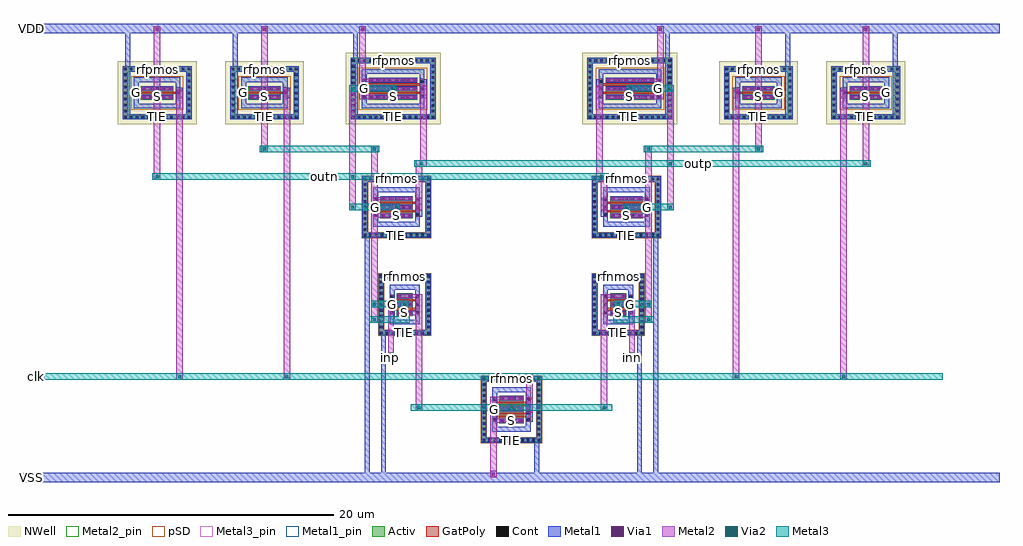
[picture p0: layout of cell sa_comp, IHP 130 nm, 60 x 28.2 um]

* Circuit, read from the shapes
.subckt sa_comp VDD VSS clk inn inp outn outp
XM1 outn outp n1 VSS sg13_lv_nmos w=2u l=0.13u m=2
XM2 n1 inp n2 VSS sg13_lv_nmos w=1u l=0.15u m=2
XM3 n2 clk VSS VSS sg13_lv_nmos w=1.5u l=0.3u m=2
XM4 n3 inn n2 VSS sg13_lv_nmos w=1u l=0.15u m=2
XM5 outp outn n3 VSS sg13_lv_nmos w=2u l=0.13u m=2
XM6 VDD clk outn VDD sg13_lv_pmos w=2u l=0.13u
XM7 VDD clk n1 VDD sg13_lv_pmos w=2u l=0.13u
XM8 outn outp VDD VDD sg13_lv_pmos w=3u l=0.13u m=2
XM9 outp outn VDD VDD sg13_lv_pmos w=3u l=0.13u m=2
XM10 VDD clk n3 VDD sg13_lv_pmos w=2u l=0.13u
XM11 VDD clk outp VDD sg13_lv_pmos w=2u l=0.13u
.ends

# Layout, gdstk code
import gdstk
lib = gdstk.Library(unit=1e-6, precision=1e-09)
def R(c, l, rs):  # rectangles x0, y0, x1, y1
    for r in rs: c.add(gdstk.rectangle(r[:2], r[2:], *l))
def A(c, l, x, y, w, h, nx, ny, dx, dy):  # array of equal rectangles
    R(c, l, [(x+i*dx, y+j*dy, x+i*dx+w, y+j*dy+h) for i in range(nx) for j in range(ny)])
def P(c, l, *ps):  # polygons
    for p in ps: c.add(gdstk.Polygon(p, *l))
Activ = (1, 0)
GatPoly = (5, 0)
Cont = (6, 0)
Metal1 = (8, 0)
Metal1_pin = (8, 2)
Metal2 = (10, 0)
Metal2_pin = (10, 2)
pSD = (14, 0)
Via1 = (19, 0)
Via2 = (29, 0)
Metal3 = (30, 0)
Metal3_pin = (30, 2)
NWell = (31, 0)

sa_comp = lib.new_cell('sa_comp')
R(sa_comp, Activ, [(-0.75,1.245,0.75,2.915), (-7.06,7.845,-6.06,9.215), (6.06,7.845,7.06,9.215), (-8.06,13.845,-6.06,15.195), (6.06,13.845,8.06,15.195), (-22.78,21.125,-20.78,21.955), (-16.18,21.125,-14.18,21.955), (-8.78,21.125,-5.78,22.475), (5.78,21.125,8.78,22.475), (14.18,21.125,16.18,21.955), (20.78,21.125,22.78,21.955)])
P(sa_comp, Activ, [(-1.86,0.03),(-1.86,3.81),(-1.54,3.81),(-1.54,0.35),(1.54,0.35),(1.54,3.81),(-1.86,3.81),(-1.86,4.13),(1.86,4.13),(1.86,0.03)],
  [(-8.17,6.63),(-8.17,10.11),(-7.85,10.11),(-7.85,6.95),(-5.27,6.95),(-5.27,10.11),(-8.17,10.11),(-8.17,10.43),(-4.95,10.43),(-4.95,6.63)],
  [(4.95,6.63),(4.95,10.43),(8.17,10.43),(8.17,10.11),(5.27,10.11),(5.27,6.95),(7.85,6.95),(7.85,10.11),(8.17,10.11),(8.17,6.63)],
  [(-9.17,12.63),(-9.17,16.09),(-8.85,16.09),(-8.85,12.95),(-5.27,12.95),(-5.27,16.09),(-9.17,16.09),(-9.17,16.41),(-4.95,16.41),(-4.95,12.63)],
  [(4.95,12.63),(4.95,16.41),(9.17,16.41),(9.17,16.09),(5.27,16.09),(5.27,12.95),(8.85,12.95),(8.85,16.09),(9.17,16.09),(9.17,12.63)],
  [(-9.89,19.91),(-9.89,23.37),(-9.57,23.37),(-9.57,20.23),(-4.99,20.23),(-4.99,23.37),(-9.89,23.37),(-9.89,23.69),(-4.67,23.69),(-4.67,19.91)],
  [(4.67,19.91),(4.67,23.69),(9.89,23.69),(9.89,23.37),(4.99,23.37),(4.99,20.23),(9.57,20.23),(9.57,23.37),(9.89,23.37),(9.89,19.91)],
  [(-17.29,19.91),(-17.29,22.85),(-16.97,22.85),(-16.97,20.23),(-13.39,20.23),(-13.39,22.85),(-17.29,22.85),(-17.29,23.17),(-13.07,23.17),(-13.07,19.91)],
  [(13.07,19.91),(13.07,23.17),(17.29,23.17),(17.29,22.85),(13.39,22.85),(13.39,20.23),(16.97,20.23),(16.97,22.85),(17.29,22.85),(17.29,19.91)],
  [(-23.89,19.91),(-23.89,22.85),(-23.57,22.85),(-23.57,20.23),(-19.99,20.23),(-19.99,22.85),(-23.89,22.85),(-23.89,23.17),(-19.67,23.17),(-19.67,19.91)],
  [(19.67,19.91),(19.67,23.17),(23.89,23.17),(23.89,22.85),(19.99,22.85),(19.99,20.23),(23.57,20.23),(23.57,22.85),(23.89,22.85),(23.89,19.91)])
R(sa_comp, GatPoly, [(-1.18,1.32,-0.88,2.84), (0.88,1.32,1.18,2.84), (-0.88,1.59,0.88,1.89), (-0.88,2.27,0.88,2.57), (-7.49,7.92,-7.19,9.14), (-5.93,7.92,-5.63,9.14), (5.63,7.92,5.93,9.14), (7.19,7.92,7.49,9.14), (-7.19,8.19,-5.93,8.34), (5.93,8.19,7.19,8.34), (-7.19,8.72,-5.93,8.87), (5.93,8.72,7.19,8.87), (-8.49,13.92,-8.19,15.12), (-5.93,13.92,-5.63,15.12), (5.63,13.92,5.93,15.12), (8.19,13.92,8.49,15.12), (-8.19,14.195,-5.93,14.325), (5.93,14.195,8.19,14.325), (-8.19,14.715,-5.93,14.845), (5.93,14.715,8.19,14.845), (-23.21,21.2,-22.91,21.88), (-20.65,21.2,-20.35,21.88), (-16.61,21.2,-16.31,21.88), (-14.05,21.2,-13.75,21.88), (-9.21,21.2,-8.91,22.4), (-5.65,21.2,-5.35,22.4), (5.35,21.2,5.65,22.4), (8.91,21.2,9.21,22.4), (13.75,21.2,14.05,21.88), (16.31,21.2,16.61,21.88), (20.35,21.2,20.65,21.88), (22.91,21.2,23.21,21.88), (-22.91,21.475,-20.65,21.605), (-16.31,21.475,-14.05,21.605), (-8.91,21.475,-5.65,21.605), (5.65,21.475,8.91,21.605), (14.05,21.475,16.31,21.605), (20.65,21.475,22.91,21.605), (-8.91,21.995,-5.65,22.125), (5.65,21.995,8.91,22.125)])
A(sa_comp, Cont, -1.78, 0.11, 0.16, 0.16, 11, 2, 0.34, 3.78)
A(sa_comp, Cont, -1.78, 0.46, 0.16, 0.16, 1, 3, 0, 0.34)
A(sa_comp, Cont, 1.62, 0.46, 0.16, 0.16, 1, 3, 0, 0.34)
A(sa_comp, Cont, -0.65, 1.32, 0.16, 0.16, 4, 3, 0.38, 0.68)
A(sa_comp, Cont, -1.11, 1.39, 0.16, 0.16, 1, 3, 0, 0.405)
A(sa_comp, Cont, 0.95, 1.39, 0.16, 0.16, 1, 3, 0, 0.405)
A(sa_comp, Cont, -6.96, 7.92, 0.16, 0.16, 1, 3, 0, 0.53)
A(sa_comp, Cont, -6.32, 7.92, 0.16, 0.16, 1, 3, 0, 0.53)
A(sa_comp, Cont, 6.16, 7.92, 0.16, 0.16, 1, 3, 0, 0.53)
A(sa_comp, Cont, 6.8, 7.92, 0.16, 0.16, 1, 3, 0, 0.53)
A(sa_comp, Cont, -7.42, 7.99, 0.16, 0.16, 1, 3, 0, 0.46)
A(sa_comp, Cont, -5.86, 7.99, 0.16, 0.16, 1, 3, 0, 0.46)
A(sa_comp, Cont, 5.7, 7.99, 0.16, 0.16, 1, 3, 0, 0.46)
A(sa_comp, Cont, 7.26, 7.99, 0.16, 0.16, 1, 3, 0, 0.46)
A(sa_comp, Cont, -8.09, 9.49, 0.16, 0.16, 1, 3, 0, 0.35)
A(sa_comp, Cont, -5.19, 9.49, 0.16, 0.16, 1, 3, 0, 0.35)
A(sa_comp, Cont, 5.03, 9.49, 0.16, 0.16, 1, 3, 0, 0.35)
A(sa_comp, Cont, 7.93, 9.49, 0.16, 0.16, 1, 3, 0, 0.35)
A(sa_comp, Cont, -8.74, 12.71, 0.16, 0.16, 11, 2, 0.355, 3.46)
A(sa_comp, Cont, 5.03, 12.71, 0.16, 0.16, 11, 2, 0.355, 3.46)
A(sa_comp, Cont, -9.09, 13.06, 0.16, 0.16, 1, 9, 0, 0.345)
A(sa_comp, Cont, -5.19, 13.06, 0.16, 0.16, 1, 9, 0, 0.345)
A(sa_comp, Cont, 5.03, 13.06, 0.16, 0.16, 1, 9, 0, 0.345)
A(sa_comp, Cont, 8.93, 13.06, 0.16, 0.16, 1, 9, 0, 0.345)
A(sa_comp, Cont, -7.96, 13.92, 0.16, 0.16, 5, 3, 0.41, 0.52)
A(sa_comp, Cont, 6.16, 13.92, 0.16, 0.16, 5, 3, 0.41, 0.52)
A(sa_comp, Cont, -8.42, 13.99, 0.16, 0.16, 1, 3, 0, 0.45)
A(sa_comp, Cont, -5.86, 13.99, 0.16, 0.16, 1, 3, 0, 0.45)
A(sa_comp, Cont, 5.7, 13.99, 0.16, 0.16, 1, 3, 0, 0.45)
A(sa_comp, Cont, 8.26, 13.99, 0.16, 0.16, 1, 3, 0, 0.45)
A(sa_comp, Cont, -23.46, 19.99, 0.16, 0.16, 11, 2, 0.355, 2.94)
A(sa_comp, Cont, -16.86, 19.99, 0.16, 0.16, 11, 2, 0.355, 2.94)
A(sa_comp, Cont, -9.81, 19.99, 0.16, 0.16, 15, 2, 0.35, 3.46)
A(sa_comp, Cont, 4.75, 19.99, 0.16, 0.16, 15, 2, 0.35, 3.46)
A(sa_comp, Cont, 13.15, 19.99, 0.16, 0.16, 11, 2, 0.355, 2.94)
A(sa_comp, Cont, 19.75, 19.99, 0.16, 0.16, 11, 2, 0.355, 2.94)
A(sa_comp, Cont, -9.81, 20.34, 0.16, 0.16, 1, 9, 0, 0.345)
A(sa_comp, Cont, -4.91, 20.34, 0.16, 0.16, 1, 9, 0, 0.345)
A(sa_comp, Cont, 4.75, 20.34, 0.16, 0.16, 1, 9, 0, 0.345)
A(sa_comp, Cont, 9.65, 20.34, 0.16, 0.16, 1, 9, 0, 0.345)
A(sa_comp, Cont, -23.81, 20.71, 0.16, 0.16, 1, 3, 0, 0.375)
A(sa_comp, Cont, -19.91, 20.71, 0.16, 0.16, 1, 3, 0, 0.375)
A(sa_comp, Cont, -17.21, 20.71, 0.16, 0.16, 1, 3, 0, 0.375)
A(sa_comp, Cont, -13.31, 20.71, 0.16, 0.16, 1, 3, 0, 0.375)
A(sa_comp, Cont, 13.15, 20.71, 0.16, 0.16, 1, 3, 0, 0.375)
A(sa_comp, Cont, 17.05, 20.71, 0.16, 0.16, 1, 3, 0, 0.375)
A(sa_comp, Cont, 19.75, 20.71, 0.16, 0.16, 1, 3, 0, 0.375)
A(sa_comp, Cont, 23.65, 20.71, 0.16, 0.16, 1, 3, 0, 0.375)
A(sa_comp, Cont, -22.68, 21.2, 0.16, 0.16, 5, 2, 0.41, 0.52)
A(sa_comp, Cont, -16.08, 21.2, 0.16, 0.16, 5, 2, 0.41, 0.52)
A(sa_comp, Cont, -8.68, 21.2, 0.16, 0.16, 3, 3, 0.375, 0.52)
A(sa_comp, Cont, -7.55, 21.2, 0.16, 0.16, 1, 3, 0, 0.52)
A(sa_comp, Cont, -7.175, 21.2, 0.16, 0.16, 1, 3, 0, 0.52)
A(sa_comp, Cont, -6.795, 21.2, 0.16, 0.16, 1, 3, 0, 0.52)
A(sa_comp, Cont, -6.42, 21.2, 0.16, 0.16, 1, 3, 0, 0.52)
A(sa_comp, Cont, -6.04, 21.2, 0.16, 0.16, 1, 3, 0, 0.52)
A(sa_comp, Cont, 5.88, 21.2, 0.16, 0.16, 1, 3, 0, 0.52)
A(sa_comp, Cont, 6.26, 21.2, 0.16, 0.16, 1, 3, 0, 0.52)
A(sa_comp, Cont, 6.635, 21.2, 0.16, 0.16, 1, 3, 0, 0.52)
A(sa_comp, Cont, 7.015, 21.2, 0.16, 0.16, 1, 3, 0, 0.52)
A(sa_comp, Cont, 7.39, 21.2, 0.16, 0.16, 1, 3, 0, 0.52)
A(sa_comp, Cont, 7.77, 21.2, 0.16, 0.16, 3, 3, 0.375, 0.52)
A(sa_comp, Cont, 14.28, 21.2, 0.16, 0.16, 5, 2, 0.41, 0.52)
A(sa_comp, Cont, 20.88, 21.2, 0.16, 0.16, 5, 2, 0.41, 0.52)
A(sa_comp, Cont, -9.14, 21.27, 0.16, 0.16, 1, 3, 0, 0.45)
A(sa_comp, Cont, -5.58, 21.27, 0.16, 0.16, 1, 3, 0, 0.45)
A(sa_comp, Cont, 5.42, 21.27, 0.16, 0.16, 1, 3, 0, 0.45)
A(sa_comp, Cont, 8.98, 21.27, 0.16, 0.16, 1, 3, 0, 0.45)
A(sa_comp, Cont, -23.81, 21.83, 0.16, 0.16, 1, 3, 0, 0.375)
A(sa_comp, Cont, -19.91, 21.83, 0.16, 0.16, 1, 3, 0, 0.375)
A(sa_comp, Cont, -17.21, 21.83, 0.16, 0.16, 1, 3, 0, 0.375)
A(sa_comp, Cont, -13.31, 21.83, 0.16, 0.16, 1, 3, 0, 0.375)
A(sa_comp, Cont, 13.15, 21.83, 0.16, 0.16, 1, 3, 0, 0.375)
A(sa_comp, Cont, 17.05, 21.83, 0.16, 0.16, 1, 3, 0, 0.375)
A(sa_comp, Cont, 19.75, 21.83, 0.16, 0.16, 1, 3, 0, 0.375)
A(sa_comp, Cont, 23.65, 21.83, 0.16, 0.16, 1, 3, 0, 0.375)
R(sa_comp, Cont, [(-1.78,1.485,-1.62,1.645), (1.62,1.485,1.78,1.645), (-1.78,1.825,-1.62,1.985), (1.62,1.825,1.78,1.985), (-1.78,2.17,-1.62,2.33), (1.62,2.17,1.78,2.33), (-1.78,2.51,-1.62,2.67), (1.62,2.51,1.78,2.67), (-1.11,2.61,-0.95,2.77), (0.95,2.61,1.11,2.77), (-1.78,2.855,-1.62,3.015), (1.62,2.855,1.78,3.015), (-1.78,3.195,-1.62,3.355), (1.62,3.195,1.78,3.355), (-1.78,3.54,-1.62,3.7), (1.62,3.54,1.78,3.7), (-8.09,6.71,-7.93,6.87), (-7.73,6.71,-7.57,6.87), (-7.365,6.71,-7.205,6.87), (-7.005,6.71,-6.845,6.87), (-6.64,6.71,-6.48,6.87), (-6.28,6.71,-6.12,6.87), (-5.915,6.71,-5.755,6.87), (-5.555,6.71,-5.395,6.87), (-5.19,6.71,-5.03,6.87), (5.03,6.71,5.19,6.87), (5.395,6.71,5.555,6.87), (5.755,6.71,5.915,6.87), (6.12,6.71,6.28,6.87), (6.48,6.71,6.64,6.87), (6.845,6.71,7.005,6.87), (7.205,6.71,7.365,6.87), (7.57,6.71,7.73,6.87), (7.93,6.71,8.09,6.87), (-8.09,7.06,-7.93,7.22), (-5.19,7.06,-5.03,7.22), (5.03,7.06,5.19,7.22), (7.93,7.06,8.09,7.22), (-8.09,7.405,-7.93,7.565), (-5.19,7.405,-5.03,7.565), (5.03,7.405,5.19,7.565), (7.93,7.405,8.09,7.565), (-8.09,7.755,-7.93,7.915), (-5.19,7.755,-5.03,7.915), (5.03,7.755,5.19,7.915), (7.93,7.755,8.09,7.915), (-8.09,8.1,-7.93,8.26), (-5.19,8.1,-5.03,8.26), (5.03,8.1,5.19,8.26), (7.93,8.1,8.09,8.26), (-8.09,8.45,-7.93,8.61), (-5.19,8.45,-5.03,8.61), (5.03,8.45,5.19,8.61), (7.93,8.45,8.09,8.61), (-8.09,8.795,-7.93,8.955), (-5.19,8.795,-5.03,8.955), (5.03,8.795,5.19,8.955), (7.93,8.795,8.09,8.955), (-8.09,9.145,-7.93,9.305), (-5.19,9.145,-5.03,9.305), (5.03,9.145,5.19,9.305), (7.93,9.145,8.09,9.305), (-7.73,10.19,-7.57,10.35), (-7.365,10.19,-7.205,10.35), (-7.005,10.19,-6.845,10.35), (-6.64,10.19,-6.48,10.35), (-6.28,10.19,-6.12,10.35), (-5.915,10.19,-5.755,10.35), (-5.555,10.19,-5.395,10.35), (5.395,10.19,5.555,10.35), (5.755,10.19,5.915,10.35), (6.12,10.19,6.28,10.35), (6.48,10.19,6.64,10.35), (6.845,10.19,7.005,10.35), (7.205,10.19,7.365,10.35), (7.57,10.19,7.73,10.35), (-9.09,12.71,-8.93,12.87), (8.93,12.71,9.09,12.87), (-9.09,16.17,-8.93,16.33), (8.93,16.17,9.09,16.33), (-23.81,19.99,-23.65,20.15), (-17.21,19.99,-17.05,20.15), (17.05,19.99,17.21,20.15), (23.65,19.99,23.81,20.15), (-23.81,20.34,-23.65,20.5), (-19.91,20.34,-19.75,20.5), (-17.21,20.34,-17.05,20.5), (-13.31,20.34,-13.15,20.5), (13.15,20.34,13.31,20.5), (17.05,20.34,17.21,20.5), (19.75,20.34,19.91,20.5), (23.65,20.34,23.81,20.5), (-23.14,21.46,-22.98,21.62), (-20.58,21.46,-20.42,21.62), (-16.54,21.46,-16.38,21.62), (-13.98,21.46,-13.82,21.62), (13.82,21.46,13.98,21.62), (16.38,21.46,16.54,21.62), (20.42,21.46,20.58,21.62), (22.98,21.46,23.14,21.62), (-23.81,22.93,-23.65,23.09), (-17.21,22.93,-17.05,23.09), (17.05,22.93,17.21,23.09), (23.65,22.93,23.81,23.09)])
A(sa_comp, Metal1, -0.7, 1.26, 1.4, 0.28, 1, 3, 0, 0.68)
A(sa_comp, Metal1, -7.01, 7.86, 0.9, 0.28, 1, 3, 0, 0.53)
A(sa_comp, Metal1, 6.11, 7.86, 0.9, 0.28, 1, 3, 0, 0.53)
A(sa_comp, Metal1, -8.01, 13.86, 1.9, 0.28, 1, 3, 0, 0.52)
A(sa_comp, Metal1, 6.11, 13.86, 1.9, 0.28, 1, 3, 0, 0.52)
A(sa_comp, Metal1, -8.73, 21.14, 2.9, 0.28, 1, 3, 0, 0.52)
A(sa_comp, Metal1, 5.83, 21.14, 2.9, 0.28, 1, 3, 0, 0.52)
R(sa_comp, Metal1, [(-30,-2.4,30,-1.8), (-1.32,-2.1,-0.92,-1.7), (-9.02,-1.8,-8.72,12.83), (-8.02,-1.8,-7.72,6.83), (1.41,-1.8,1.71,0.23), (7.72,-1.8,8.02,6.83), (8.72,-1.8,9.02,12.83), (-1.86,0.03,1.86,0.35), (-1.86,0.35,-1.54,3.81), (1.54,0.35,1.86,3.81), (-1.13,1.34,-0.93,2.82), (0.92,1.34,1.32,2.82), (0.93,1.34,1.13,2.82), (-1.86,3.81,1.86,4.13), (-8.17,6.63,-4.95,6.95), (4.95,6.63,8.17,6.95), (-8.17,6.95,-7.85,10.11), (-5.27,6.95,-4.95,10.11), (4.95,6.95,5.27,10.11), (7.85,6.95,8.17,10.11), (-7.44,7.94,-7.24,9.12), (-5.88,7.94,-5.68,9.12), (5.68,7.94,5.88,9.12), (7.24,7.94,7.44,9.12), (-7.58,8.36,-7.24,8.74), (7.24,8.36,7.58,8.74), (-8.17,10.11,-4.95,10.43), (4.95,10.11,8.17,10.43), (-9.17,12.63,-4.95,12.95), (4.95,12.63,9.17,12.95), (-9.17,12.95,-8.85,16.09), (-5.27,12.95,-4.95,16.09), (4.95,12.95,5.27,16.09), (8.85,12.95,9.17,16.09), (-8.44,13.94,-8.24,15.1), (-5.89,13.94,-5.49,15.1), (-5.88,13.94,-5.68,15.1), (5.49,13.94,5.89,15.1), (5.68,13.94,5.88,15.1), (8.24,13.94,8.44,15.1), (-9.17,16.09,-4.95,16.41), (4.95,16.09,9.17,16.41), (-23.89,19.91,-19.67,20.23), (-17.29,19.91,-13.07,20.23), (-9.89,19.91,-4.67,20.23), (4.67,19.91,9.89,20.23), (13.07,19.91,17.29,20.23), (19.67,19.91,23.89,20.23), (-23.74,20.04,-23.44,25.2), (-17.14,20.04,-16.84,25.2), (-9.74,20.04,-9.44,25.2), (9.44,20.04,9.74,25.2), (16.84,20.04,17.14,25.2), (23.44,20.04,23.74,25.2), (-23.89,20.23,-23.57,22.85), (-19.99,20.23,-19.67,22.85), (-17.29,20.23,-16.97,22.85), (-13.39,20.23,-13.07,22.85), (-9.89,20.23,-9.57,23.37), (-4.99,20.23,-4.67,23.37), (4.67,20.23,4.99,23.37), (9.57,20.23,9.89,23.37), (13.07,20.23,13.39,22.85), (16.97,20.23,17.29,22.85), (19.67,20.23,19.99,22.85), (23.57,20.23,23.89,22.85), (-22.73,21.14,-20.83,21.42), (-16.13,21.14,-14.23,21.42), (14.23,21.14,16.13,21.42), (20.83,21.14,22.73,21.42), (-23.16,21.22,-22.96,21.86), (-20.61,21.22,-20.21,21.86), (-20.6,21.22,-20.4,21.86), (-16.56,21.22,-16.36,21.86), (-14.01,21.22,-13.61,21.86), (-14,21.22,-13.8,21.86), (-9.16,21.22,-8.96,22.38), (-5.61,21.22,-5.21,22.38), (-5.6,21.22,-5.4,22.38), (5.21,21.22,5.61,22.38), (5.4,21.22,5.6,22.38), (8.96,21.22,9.16,22.38), (13.61,21.22,14.01,21.86), (13.8,21.22,14,21.86), (16.36,21.22,16.56,21.86), (20.21,21.22,20.61,21.86), (20.4,21.22,20.6,21.86), (22.96,21.22,23.16,21.86), (-22.73,21.66,-20.83,21.94), (-16.13,21.66,-14.23,21.94), (14.23,21.66,16.13,21.94), (20.83,21.66,22.73,21.94), (-23.89,22.85,-19.67,23.17), (-17.29,22.85,-13.07,23.17), (13.07,22.85,17.29,23.17), (19.67,22.85,23.89,23.17), (-9.89,23.37,-4.67,23.69), (4.67,23.37,9.89,23.69), (-30,25.2,30,25.8), (-21.98,25.25,-21.58,25.65), (-15.38,25.25,-14.98,25.65), (-9.35,25.25,-8.95,25.65), (8.95,25.25,9.35,25.65), (14.98,25.25,15.38,25.65), (21.58,25.25,21.98,25.65)])
P(sa_comp, Metal1, [(-1.18,0.71),(-1.18,3.15),(-0.88,3.15),(-0.88,1.01),(0.88,1.01),(0.88,3.15),(-1.18,3.15),(-1.18,3.45),(1.18,3.45),(1.18,0.71)],
  [(-7.49,7.31),(-7.49,9.45),(-7.19,9.45),(-7.19,7.61),(-5.93,7.61),(-5.93,9.45),(-7.49,9.45),(-7.49,9.75),(-5.63,9.75),(-5.63,7.31)],
  [(5.63,7.31),(5.63,9.75),(7.49,9.75),(7.49,9.45),(5.93,9.45),(5.93,7.61),(7.19,7.61),(7.19,9.45),(7.49,9.45),(7.49,7.31)],
  [(-8.49,13.31),(-8.49,15.43),(-8.19,15.43),(-8.19,13.61),(-5.93,13.61),(-5.93,15.43),(-8.49,15.43),(-8.49,15.73),(-5.63,15.73),(-5.63,13.31)],
  [(5.63,13.31),(5.63,15.73),(8.49,15.73),(8.49,15.43),(5.93,15.43),(5.93,13.61),(8.19,13.61),(8.19,15.43),(8.49,15.43),(8.49,13.31)],
  [(-9.21,20.59),(-9.21,22.71),(-8.91,22.71),(-8.91,20.89),(-5.65,20.89),(-5.65,22.71),(-9.21,22.71),(-9.21,23.01),(-5.35,23.01),(-5.35,20.59)],
  [(5.35,20.59),(5.35,23.01),(9.21,23.01),(9.21,22.71),(5.65,22.71),(5.65,20.89),(8.91,20.89),(8.91,22.71),(9.21,22.71),(9.21,20.59)],
  [(-16.61,20.59),(-16.61,22.19),(-16.31,22.19),(-16.31,20.89),(-14.05,20.89),(-14.05,22.19),(-16.61,22.19),(-16.61,22.49),(-13.75,22.49),(-13.75,20.59)],
  [(13.75,20.59),(13.75,22.49),(16.61,22.49),(16.61,22.19),(14.05,22.19),(14.05,20.89),(16.31,20.89),(16.31,22.19),(16.61,22.19),(16.61,20.59)],
  [(-23.21,20.59),(-23.21,22.19),(-22.91,22.19),(-22.91,20.89),(-20.65,20.89),(-20.65,22.19),(-23.21,22.19),(-23.21,22.49),(-20.35,22.49),(-20.35,20.59)],
  [(20.35,20.59),(20.35,22.49),(23.21,22.49),(23.21,22.19),(20.65,22.19),(20.65,20.89),(22.91,20.89),(22.91,22.19),(23.21,22.19),(23.21,20.59)])
R(sa_comp, Metal1_pin, [(-30,-2.3,-29,-1.9), (-1.86,0.11,1.86,0.27), (-1.86,0.11,1.86,0.27), (-0.7,1.26,0.7,1.54), (-0.7,1.26,0.7,1.54), (-1.13,1.34,-0.93,2.82), (-1.13,1.34,-0.93,2.82), (-0.7,1.94,0.7,2.22), (-0.7,1.94,0.7,2.22), (-8.17,6.71,-4.95,6.87), (-8.17,6.71,-4.95,6.87), (4.95,6.71,8.17,6.87), (4.95,6.71,8.17,6.87), (-7.01,7.86,-6.11,8.14), (-7.01,7.86,-6.11,8.14), (6.11,7.86,7.01,8.14), (6.11,7.86,7.01,8.14), (-7.44,7.94,-7.24,9.12), (-7.44,7.94,-7.24,9.12), (7.24,7.94,7.44,9.12), (7.24,7.94,7.44,9.12), (-7.01,8.39,-6.11,8.67), (-7.01,8.39,-6.11,8.67), (6.11,8.39,7.01,8.67), (6.11,8.39,7.01,8.67), (-9.17,12.71,-4.95,12.87), (-9.17,12.71,-4.95,12.87), (4.95,12.71,9.17,12.87), (4.95,12.71,9.17,12.87), (-8.01,13.86,-6.11,14.14), (-8.01,13.86,-6.11,14.14), (6.11,13.86,8.01,14.14), (6.11,13.86,8.01,14.14), (-8.44,13.94,-8.24,15.1), (-8.44,13.94,-8.24,15.1), (8.24,13.94,8.44,15.1), (8.24,13.94,8.44,15.1), (-8.01,14.38,-6.11,14.66), (-8.01,14.38,-6.11,14.66), (6.11,14.38,8.01,14.66), (6.11,14.38,8.01,14.66), (-23.89,19.99,-19.67,20.15), (-23.89,19.99,-19.67,20.15), (-17.29,19.99,-13.07,20.15), (-17.29,19.99,-13.07,20.15), (-9.89,19.99,-4.67,20.15), (-9.89,19.99,-4.67,20.15), (4.67,19.99,9.89,20.15), (4.67,19.99,9.89,20.15), (13.07,19.99,17.29,20.15), (13.07,19.99,17.29,20.15), (19.67,19.99,23.89,20.15), (19.67,19.99,23.89,20.15), (-22.73,21.14,-20.83,21.42), (-22.73,21.14,-20.83,21.42), (-16.13,21.14,-14.23,21.42), (-16.13,21.14,-14.23,21.42), (-8.73,21.14,-5.83,21.42), (-8.73,21.14,-5.83,21.42), (5.83,21.14,8.73,21.42), (5.83,21.14,8.73,21.42), (14.23,21.14,16.13,21.42), (14.23,21.14,16.13,21.42), (20.83,21.14,22.73,21.42), (20.83,21.14,22.73,21.42), (-23.16,21.22,-22.96,21.86), (-23.16,21.22,-22.96,21.86), (-16.56,21.22,-16.36,21.86), (-16.56,21.22,-16.36,21.86), (-9.16,21.22,-8.96,22.38), (-9.16,21.22,-8.96,22.38), (8.96,21.22,9.16,22.38), (8.96,21.22,9.16,22.38), (16.36,21.22,16.56,21.86), (16.36,21.22,16.56,21.86), (22.96,21.22,23.16,21.86), (22.96,21.22,23.16,21.86), (-22.73,21.66,-20.83,21.94), (-22.73,21.66,-20.83,21.94), (-16.13,21.66,-14.23,21.94), (-16.13,21.66,-14.23,21.94), (-8.73,21.66,-5.83,21.94), (-8.73,21.66,-5.83,21.94), (5.83,21.66,8.73,21.94), (5.83,21.66,8.73,21.94), (14.23,21.66,16.13,21.94), (14.23,21.66,16.13,21.94), (20.83,21.66,22.73,21.94), (20.83,21.66,22.73,21.94), (-30,25.3,-29,25.7)])
A(sa_comp, Metal2, -0.7, 1.3, 1.4, 0.2, 1, 3, 0, 0.68)
A(sa_comp, Metal2, -5.89, 2, 0.4, 0.4, 3, 1, 5.69, 0)
A(sa_comp, Metal2, -7.01, 7.9, 0.9, 0.2, 1, 3, 0, 0.53)
A(sa_comp, Metal2, 6.11, 7.9, 0.9, 0.2, 1, 3, 0, 0.53)
A(sa_comp, Metal2, -8.01, 13.9, 1.9, 0.2, 1, 3, 0, 0.52)
A(sa_comp, Metal2, 6.11, 13.9, 1.9, 0.2, 1, 3, 0, 0.52)
A(sa_comp, Metal2, -8.73, 21.18, 2.9, 0.2, 1, 3, 0, 0.52)
A(sa_comp, Metal2, 5.83, 21.18, 2.9, 0.2, 1, 3, 0, 0.52)
R(sa_comp, Metal2, [(-1.32,-2.1,-0.92,-1.7), (-1.32,-1.95,-0.92,1.36), (-1.32,1.26,-0.4,1.54), (-1.32,1.26,-0.92,2.86), (0.92,1.89,1.32,2.27), (0.92,2.08,1.32,4.1), (-0.2,2.12,0.2,2.2), (-5.89,2.2,-5.49,8.06), (5.49,2.2,5.89,8.06), (-1.32,2.66,-0.4,2.86), (-20.61,3.9,-20.21,4.3), (-14.01,3.9,-13.61,4.3), (0.92,3.9,1.32,4.3), (13.61,3.9,14.01,4.3), (20.21,3.9,20.61,4.3), (-20.61,4.1,-20.21,21.54), (-14.01,4.1,-13.61,21.54), (13.61,4.1,14.01,21.54), (20.21,4.1,20.61,21.54), (-7.58,5,-7.24,8.55), (7.24,5,7.58,8.55), (-8.63,7.4,-8.23,7.8), (8.23,7.4,8.63,7.8), (-8.63,7.6,-8.23,14.06), (8.23,7.6,8.63,14.06), (-6.41,7.86,-5.49,8.14), (-5.89,7.86,-5.49,9.16), (5.49,7.86,6.41,8.14), (5.49,7.86,5.89,9.16), (-8.63,8.35,-8.23,8.75), (-6.76,8.35,-6.36,8.75), (6.36,8.35,6.76,8.75), (8.23,8.35,8.63,8.75), (-7.58,8.36,-7.24,8.74), (7.24,8.36,7.58,8.74), (-6.41,8.96,-5.49,9.16), (5.49,8.96,6.41,9.16), (-8.63,13.86,-8.23,15.14), (-8.63,13.86,-7.71,14.14), (7.71,13.86,8.63,14.14), (8.23,13.86,8.63,15.14), (-9.97,14.32,-9.57,14.72), (-7.26,14.32,-6.86,14.72), (6.86,14.32,7.26,14.72), (9.57,14.32,9.97,14.72), (-5.89,14.33,-5.49,14.71), (5.49,14.33,5.89,14.71), (-9.97,14.52,-9.57,21.8), (-5.89,14.52,-5.49,17), (5.49,14.52,5.89,16.2), (9.57,14.52,9.97,21.8), (-8.63,14.94,-7.71,15.14), (-8.63,14.94,-8.23,18.1), (7.71,14.94,8.63,15.14), (8.23,14.94,8.63,18.1), (-21.98,16.2,-21.58,16.6), (-21.98,16.2,-21.58,21.34), (-9.97,16.2,-9.57,16.6), (5.21,16.2,5.61,21.8), (5.21,16.2,5.89,16.6), (5.35,16.2,5.75,16.6), (-5.89,17,-5.21,17.4), (-5.75,17,-5.35,17.4), (-5.61,17,-5.21,21.8), (9.57,17,9.97,17.4), (21.58,17,21.98,17.4), (21.58,17,21.98,21.34), (-15.38,17.9,-14.98,18.3), (-8.63,17.9,-8.23,18.3), (8.23,17.9,8.63,18.3), (14.98,17.9,15.38,18.3), (-15.38,18.1,-14.98,21.34), (14.98,18.1,15.38,21.34), (-9.35,21.14,-8.95,22.42), (-9.35,21.14,-8.43,21.42), (8.43,21.14,9.35,21.42), (8.95,21.14,9.35,22.42), (-22.73,21.18,-20.83,21.38), (-16.13,21.18,-14.23,21.38), (14.23,21.18,16.13,21.38), (20.83,21.18,22.73,21.38), (-20.61,21.35,-20.21,21.73), (-14.01,21.35,-13.61,21.73), (13.61,21.35,14.01,21.73), (20.21,21.35,20.61,21.73), (-9.97,21.6,-9.57,22), (-7.48,21.6,-7.08,22), (7.08,21.6,7.48,22), (9.57,21.6,9.97,22), (-5.61,21.61,-5.21,21.99), (5.21,21.61,5.61,21.99), (-22.73,21.7,-20.83,21.9), (-16.13,21.7,-14.23,21.9), (14.23,21.7,16.13,21.9), (20.83,21.7,22.73,21.9), (-21.98,21.84,-21.58,25.45), (-15.38,21.84,-14.98,25.45), (14.98,21.84,15.38,25.45), (21.58,21.84,21.98,25.45), (-9.35,22.22,-8.43,22.42), (8.43,22.22,9.35,22.42), (-9.35,22.32,-8.95,25.45), (8.95,22.32,9.35,25.45), (-21.98,25.25,-21.58,25.65), (-15.38,25.25,-14.98,25.65), (-9.35,25.25,-8.95,25.65), (8.95,25.25,9.35,25.65), (14.98,25.25,15.38,25.65), (21.58,25.25,21.98,25.65)])
R(sa_comp, Metal2_pin, [(-7.58,5,-7.24,5.6), (7.24,5,7.58,5.6)])
R(sa_comp, pSD, [(-23.39,20.51,-20.17,22.57), (-16.79,20.51,-13.57,22.57), (-9.39,20.51,-5.17,23.09), (5.17,20.51,9.39,23.09), (13.57,20.51,16.79,22.57), (20.17,20.51,23.39,22.57)])
P(sa_comp, pSD, [(-1.89,0),(-1.89,3.78),(-1.51,3.78),(-1.51,0.38),(1.51,0.38),(1.51,3.78),(-1.89,3.78),(-1.89,4.16),(1.89,4.16),(1.89,0)],
  [(-8.2,6.6),(-8.2,10.08),(-7.82,10.08),(-7.82,6.98),(-5.3,6.98),(-5.3,10.08),(-8.2,10.08),(-8.2,10.46),(-4.92,10.46),(-4.92,6.6)],
  [(4.92,6.6),(4.92,10.46),(8.2,10.46),(8.2,10.08),(5.3,10.08),(5.3,6.98),(7.82,6.98),(7.82,10.08),(8.2,10.08),(8.2,6.6)],
  [(-9.2,12.6),(-9.2,16.06),(-8.82,16.06),(-8.82,12.98),(-5.3,12.98),(-5.3,16.06),(-9.2,16.06),(-9.2,16.44),(-4.92,16.44),(-4.92,12.6)],
  [(4.92,12.6),(4.92,16.44),(9.2,16.44),(9.2,16.06),(5.3,16.06),(5.3,12.98),(8.82,12.98),(8.82,16.06),(9.2,16.06),(9.2,12.6)])
A(sa_comp, Via1, -0.65, 1.305, 0.19, 0.19, 3, 3, 0.555, 0.68)
A(sa_comp, Via1, -6.96, 7.905, 0.19, 0.19, 1, 3, 0, 0.53)
A(sa_comp, Via1, -6.35, 7.905, 0.19, 0.19, 1, 3, 0, 0.53)
A(sa_comp, Via1, 6.16, 7.905, 0.19, 0.19, 1, 3, 0, 0.53)
A(sa_comp, Via1, 6.77, 7.905, 0.19, 0.19, 1, 3, 0, 0.53)
A(sa_comp, Via1, -7.96, 13.905, 0.19, 0.19, 3, 3, 0.535, 0.52)
A(sa_comp, Via1, -6.35, 13.905, 0.19, 0.19, 1, 3, 0, 0.52)
A(sa_comp, Via1, 6.16, 13.905, 0.19, 0.19, 1, 3, 0, 0.52)
A(sa_comp, Via1, 6.7, 13.905, 0.19, 0.19, 3, 3, 0.535, 0.52)
A(sa_comp, Via1, -22.68, 21.185, 0.19, 0.19, 3, 2, 0.535, 0.52)
A(sa_comp, Via1, -16.08, 21.185, 0.19, 0.19, 3, 2, 0.535, 0.52)
A(sa_comp, Via1, -8.68, 21.185, 0.19, 0.19, 3, 3, 0.52, 0.52)
A(sa_comp, Via1, -7.115, 21.185, 0.19, 0.19, 1, 3, 0, 0.52)
A(sa_comp, Via1, -6.595, 21.185, 0.19, 0.19, 1, 3, 0, 0.52)
A(sa_comp, Via1, -6.07, 21.185, 0.19, 0.19, 1, 3, 0, 0.52)
A(sa_comp, Via1, 5.88, 21.185, 0.19, 0.19, 1, 3, 0, 0.52)
A(sa_comp, Via1, 6.405, 21.185, 0.19, 0.19, 1, 3, 0, 0.52)
A(sa_comp, Via1, 6.925, 21.185, 0.19, 0.19, 1, 3, 0, 0.52)
A(sa_comp, Via1, 7.45, 21.185, 0.19, 0.19, 3, 3, 0.52, 0.52)
A(sa_comp, Via1, 14.82, 21.185, 0.19, 0.19, 3, 2, 0.535, 0.52)
A(sa_comp, Via1, 21.42, 21.185, 0.19, 0.19, 3, 2, 0.535, 0.52)
R(sa_comp, Via1, [(-1.21,-2,-1.02,-1.81), (0.935,1.985,1.125,2.175), (-7.495,8.455,-7.305,8.645), (7.305,8.455,7.495,8.645), (-5.875,14.425,-5.685,14.615), (5.685,14.425,5.875,14.615), (-21.07,21.185,-20.88,21.375), (-14.47,21.185,-14.28,21.375), (14.28,21.185,14.47,21.375), (20.88,21.185,21.07,21.375), (-20.595,21.445,-20.405,21.635), (-13.995,21.445,-13.805,21.635), (13.805,21.445,13.995,21.635), (20.405,21.445,20.595,21.635), (-21.07,21.705,-20.88,21.895), (-14.47,21.705,-14.28,21.895), (-5.595,21.705,-5.405,21.895), (5.405,21.705,5.595,21.895), (14.28,21.705,14.47,21.895), (20.88,21.705,21.07,21.895), (-21.88,25.36,-21.69,25.55), (-15.28,25.36,-15.09,25.55), (-9.24,25.36,-9.05,25.55), (9.05,25.36,9.24,25.55), (15.08,25.36,15.27,25.55), (21.68,25.36,21.87,25.55)])
R(sa_comp, Via2, [(-5.78,2.1,-5.59,2.29), (-0.1,2.1,0.09,2.29), (5.6,2.1,5.79,2.29), (-20.5,4,-20.31,4.19), (-13.91,4,-13.72,4.19), (1.03,4,1.22,4.19), (13.72,4,13.91,4.19), (20.32,4,20.51,4.19), (-8.52,7.51,-8.33,7.7), (8.33,7.51,8.52,7.7), (-8.52,8.46,-8.33,8.65), (-6.65,8.46,-6.46,8.65), (6.46,8.46,6.65,8.65), (8.33,8.46,8.52,8.65), (-9.86,14.42,-9.67,14.61), (-7.15,14.42,-6.96,14.61), (6.96,14.42,7.15,14.61), (9.67,14.42,9.86,14.61), (-21.88,16.3,-21.69,16.49), (-9.86,16.3,-9.67,16.49), (5.45,16.3,5.64,16.49), (-5.64,17.1,-5.45,17.29), (9.67,17.1,9.86,17.29), (21.68,17.1,21.87,17.29), (-15.28,18,-15.09,18.19), (-8.52,18,-8.33,18.19), (8.33,18,8.52,18.19), (15.08,18,15.27,18.19), (-9.86,21.7,-9.67,21.89), (-7.37,21.7,-7.18,21.89), (7.18,21.7,7.37,21.89), (9.67,21.7,9.86,21.89)])
A(sa_comp, Metal3, -5.89, 2, 0.4, 0.4, 3, 1, 5.69, 0)
R(sa_comp, Metal3, [(-6.2,2,6.2,2.4), (-29.7,3.9,26.5,4.3), (-20.61,3.9,-20.21,4.3), (-14.01,3.9,-13.61,4.3), (0.92,3.9,1.32,4.3), (13.61,3.9,14.01,4.3), (20.21,3.9,20.61,4.3), (-8.73,7.4,-6.26,7.8), (-8.63,7.4,-8.23,7.8), (6.26,7.4,8.73,7.8), (8.23,7.4,8.63,7.8), (-8.63,8.35,-8.23,8.75), (-8.63,8.35,-6.36,8.75), (-6.76,8.35,-6.36,8.75), (6.36,8.35,6.76,8.75), (6.36,8.35,8.63,8.75), (8.23,8.35,8.63,8.75), (-9.97,14.32,-9.57,14.72), (-9.97,14.32,-6.86,14.72), (-7.26,14.32,-6.86,14.72), (6.86,14.32,7.26,14.72), (6.86,14.32,9.97,14.72), (9.57,14.32,9.97,14.72), (-22.08,16.2,5.99,16.6), (-21.98,16.2,-21.58,16.6), (-9.97,16.2,-9.57,16.6), (5.35,16.2,5.75,16.6), (-5.99,17,22.08,17.4), (-5.75,17,-5.35,17.4), (9.57,17,9.97,17.4), (21.58,17,21.98,17.4), (-15.48,17.9,-8.13,18.3), (-15.38,17.9,-14.98,18.3), (-8.63,17.9,-8.23,18.3), (8.13,17.9,15.48,18.3), (8.23,17.9,8.63,18.3), (14.98,17.9,15.38,18.3), (-9.97,21.6,-9.57,22), (-9.97,21.6,-7.08,22), (-7.48,21.6,-7.08,22), (7.08,21.6,7.48,22), (7.08,21.6,9.97,22), (9.57,21.6,9.97,22)])
R(sa_comp, Metal3_pin, [(-29.7,3.9,-28.7,4.3), (-12,16.2,-11,16.6), (11,17,12,17.4)])
R(sa_comp, NWell, [(-24.2,19.6,-19.36,23.48), (-17.6,19.6,-12.76,23.48), (-10.2,19.6,-4.36,24), (4.36,19.6,10.2,24), (12.76,19.6,17.6,23.48), (19.36,19.6,24.2,23.48)])
sa_comp.add(gdstk.Label('S', (0,1.418), layer=63, texttype=0))
sa_comp.add(gdstk.Label('D', (0,2.097), layer=63, texttype=0))
sa_comp.add(gdstk.Label('G', (-1.03,2.08), layer=63, texttype=0))
sa_comp.add(gdstk.Label('TIE', (0,0.19), layer=63, texttype=0))
sa_comp.add(gdstk.Label('rfnmos', (0,3.97), layer=63, texttype=0))
sa_comp.add(gdstk.Label('S', (-6.56,8.018), layer=63, texttype=0))
sa_comp.add(gdstk.Label('D', (-6.56,8.547), layer=63, texttype=0))
sa_comp.add(gdstk.Label('G', (-7.34,8.53), layer=63, texttype=0))
sa_comp.add(gdstk.Label('TIE', (-6.56,6.79), layer=63, texttype=0))
sa_comp.add(gdstk.Label('rfnmos', (-6.56,10.27), layer=63, texttype=0))
sa_comp.add(gdstk.Label('S', (6.56,8.018), layer=63, texttype=0))
sa_comp.add(gdstk.Label('D', (6.56,8.547), layer=63, texttype=0))
sa_comp.add(gdstk.Label('G', (7.34,8.53), layer=63, texttype=0))
sa_comp.add(gdstk.Label('TIE', (6.56,6.79), layer=63, texttype=0))
sa_comp.add(gdstk.Label('rfnmos', (6.56,10.27), layer=63, texttype=0))
sa_comp.add(gdstk.Label('S', (-7.06,14.02), layer=63, texttype=0))
sa_comp.add(gdstk.Label('D', (-7.06,14.54), layer=63, texttype=0))
sa_comp.add(gdstk.Label('G', (-8.34,14.52), layer=63, texttype=0))
sa_comp.add(gdstk.Label('TIE', (-7.06,12.79), layer=63, texttype=0))
sa_comp.add(gdstk.Label('rfnmos', (-7.06,16.25), layer=63, texttype=0))
sa_comp.add(gdstk.Label('S', (7.06,14.02), layer=63, texttype=0))
sa_comp.add(gdstk.Label('D', (7.06,14.54), layer=63, texttype=0))
sa_comp.add(gdstk.Label('G', (8.34,14.52), layer=63, texttype=0))
sa_comp.add(gdstk.Label('TIE', (7.06,12.79), layer=63, texttype=0))
sa_comp.add(gdstk.Label('rfnmos', (7.06,16.25), layer=63, texttype=0))
sa_comp.add(gdstk.Label('S', (-7.28,21.3), layer=63, texttype=0))
sa_comp.add(gdstk.Label('D', (-7.28,21.82), layer=63, texttype=0))
sa_comp.add(gdstk.Label('G', (-9.06,21.8), layer=63, texttype=0))
sa_comp.add(gdstk.Label('TIE', (-7.28,20.07), layer=63, texttype=0))
sa_comp.add(gdstk.Label('rfpmos', (-7.28,23.53), layer=63, texttype=0))
sa_comp.add(gdstk.Label('S', (7.28,21.3), layer=63, texttype=0))
sa_comp.add(gdstk.Label('D', (7.28,21.82), layer=63, texttype=0))
sa_comp.add(gdstk.Label('G', (9.06,21.8), layer=63, texttype=0))
sa_comp.add(gdstk.Label('TIE', (7.28,20.07), layer=63, texttype=0))
sa_comp.add(gdstk.Label('rfpmos', (7.28,23.53), layer=63, texttype=0))
sa_comp.add(gdstk.Label('S', (-15.18,21.3), layer=63, texttype=0))
sa_comp.add(gdstk.Label('D', (-15.18,21.82), layer=63, texttype=0))
sa_comp.add(gdstk.Label('G', (-16.46,21.54), layer=63, texttype=0))
sa_comp.add(gdstk.Label('TIE', (-15.18,20.07), layer=63, texttype=0))
sa_comp.add(gdstk.Label('rfpmos', (-15.18,23.01), layer=63, texttype=0))
sa_comp.add(gdstk.Label('S', (15.18,21.3), layer=63, texttype=0))
sa_comp.add(gdstk.Label('D', (15.18,21.82), layer=63, texttype=0))
sa_comp.add(gdstk.Label('G', (16.46,21.54), layer=63, texttype=0))
sa_comp.add(gdstk.Label('TIE', (15.18,20.07), layer=63, texttype=0))
sa_comp.add(gdstk.Label('rfpmos', (15.18,23.01), layer=63, texttype=0))
sa_comp.add(gdstk.Label('S', (-21.78,21.3), layer=63, texttype=0))
sa_comp.add(gdstk.Label('D', (-21.78,21.82), layer=63, texttype=0))
sa_comp.add(gdstk.Label('G', (-23.06,21.54), layer=63, texttype=0))
sa_comp.add(gdstk.Label('TIE', (-21.78,20.07), layer=63, texttype=0))
sa_comp.add(gdstk.Label('rfpmos', (-21.78,23.01), layer=63, texttype=0))
sa_comp.add(gdstk.Label('S', (21.78,21.3), layer=63, texttype=0))
sa_comp.add(gdstk.Label('D', (21.78,21.82), layer=63, texttype=0))
sa_comp.add(gdstk.Label('G', (23.06,21.54), layer=63, texttype=0))
sa_comp.add(gdstk.Label('TIE', (21.78,20.07), layer=63, texttype=0))
sa_comp.add(gdstk.Label('rfpmos', (21.78,23.01), layer=63, texttype=0))
sa_comp.add(gdstk.Label('VSS', (-29.5,-2.1), layer=8, texttype=25))
sa_comp.add(gdstk.Label('VDD', (-29.5,25.5), layer=8, texttype=25))
sa_comp.add(gdstk.Label('inp', (-7.41,5.3), layer=10, texttype=25))
sa_comp.add(gdstk.Label('inn', (7.41,5.3), layer=10, texttype=25))
sa_comp.add(gdstk.Label('outn', (-11.5,16.4), layer=30, texttype=25))
sa_comp.add(gdstk.Label('outp', (11.5,17.2), layer=30, texttype=25))
sa_comp.add(gdstk.Label('clk', (-29.2,4.1), layer=30, texttype=25))

lib.write_gds('sa_comp.gds')
